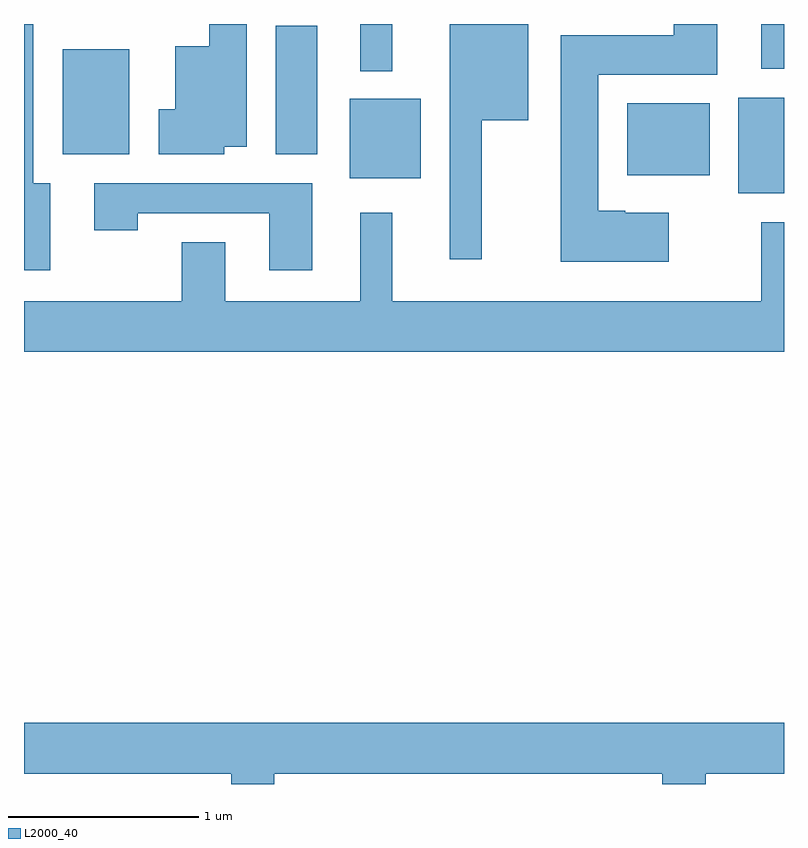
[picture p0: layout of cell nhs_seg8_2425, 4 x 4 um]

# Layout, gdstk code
import gdstk
lib = gdstk.Library(unit=1e-6, precision=1e-09)
def R(c, l, rs):  # rectangles x0, y0, x1, y1
    for r in rs: c.add(gdstk.rectangle(r[:2], r[2:], *l))
def P(c, l, *ps):  # polygons
    for p in ps: c.add(gdstk.Polygon(p, *l))
L2000_40 = (2000, 40)

nhs_seg8_2425 = lib.new_cell('nhs_seg8_2425')
R(nhs_seg8_2425, L2000_40, [(261.371,1859.451,261.611,1859.954), (259.326,1859.531,259.699,1859.949), (260.786,1859.546,261.219,1859.924), (257.816,1859.656,258.164,1860.209), (258.936,1859.656,259.154,1860.334), (259.381,1860.093,259.549,1860.342), (261.491,1860.106,261.611,1860.342)])
P(nhs_seg8_2425, L2000_40, [(260.019,1859.836),(260.264,1859.836),(260.264,1860.342),(259.851,1860.342),(259.851,1859.103),(260.019,1859.103)],
  [(261.004,1859.349),(260.775,1859.349),(260.775,1859.359),(260.634,1859.359),(260.634,1860.076),(261.259,1860.076),(261.259,1860.342),(261.031,1860.342),(261.031,1860.284),(260.436,1860.284),(260.436,1859.091),(261.004,1859.091)],
  [(258.664,1859.696),(258.784,1859.696),(258.784,1860.342),(258.586,1860.342),(258.586,1860.224),(258.406,1860.224),(258.406,1859.894),(258.321,1859.894),(258.321,1859.656),(258.664,1859.656)],
  [(257.749,1859.504),(257.659,1859.504),(257.659,1860.342),(257.611,1860.342),(257.611,1859.046),(257.749,1859.046)],
  [(259.129,1859.504),(257.981,1859.504),(257.981,1859.256),(258.209,1859.256),(258.209,1859.346),(258.901,1859.346),(258.901,1859.046),(259.129,1859.046)],
  [(261.611,1859.299),(261.491,1859.299),(261.491,1858.884),(259.549,1858.884),(259.549,1859.348),(259.381,1859.348),(259.381,1858.884),(258.669,1858.884),(258.669,1859.194),(258.441,1859.194),(258.441,1858.884),(257.611,1858.884),(257.611,1858.616),(261.611,1858.616)],
  [(258.929,1856.396),(260.971,1856.396),(260.971,1856.342),(261.199,1856.342),(261.199,1856.396),(261.611,1856.396),(261.611,1856.664),(257.611,1856.664),(257.611,1856.396),(258.701,1856.396),(258.701,1856.342),(258.929,1856.342)])

lib.write_gds('nhs_seg8_2425.gds')
